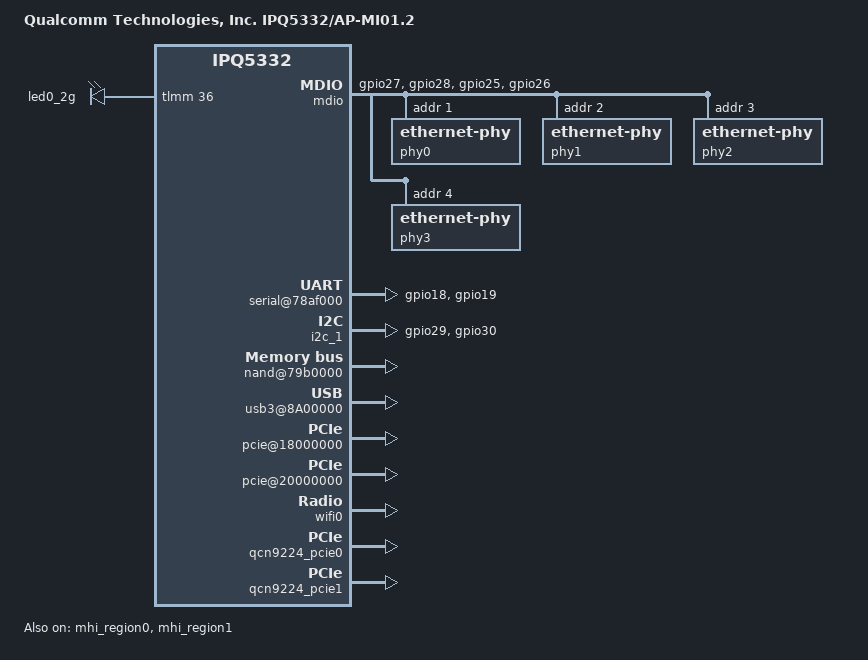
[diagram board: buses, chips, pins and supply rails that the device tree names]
// SPDX-License-Identifier: (GPL-2.0+ OR BSD-3-Clause)
/*
 * IPQ5332 AP-MI01.2 board device tree source
 *
 * Copyright (c) 2020-2021 The Linux Foundation. All rights reserved.
 * Copyright (c) 2022 Qualcomm Innovation Center, Inc. All rights reserved.
 */

/dts-v1/;

#include "ipq5332.dtsi"

#ifdef __IPQ_MEM_PROFILE_512_MB__
#include "ipq5332-512MB-memory.dtsi"
#else
#include "ipq5332-default-memory.dtsi"
#endif

/ {
	#address-cells = <0x2>;
	#size-cells = <0x2>;
	model = "Qualcomm Technologies, Inc. IPQ5332/AP-MI01.2";
	compatible = "qcom,ipq5332-ap-mi01.2", "qcom,ipq5332";
	interrupt-parent = <&intc>;

	aliases {
		serial0 = &blsp1_uart0;
	};

	chosen {
		linux,initrd-end = <0x57000000>;
		linux,initrd-start = <0x55000000>;
		bootargs = "root=/dev/ram0 rw init=/init";
		stdout-path = "serial0";
		bootargs-append = " clk_ignore_unused";
	};

	soc {
		pinctrl@1000000 {
			serial_0_pins: serial0-pinmux {
				pins = "gpio18", "gpio19";
				function = "blsp0_uart0";
				drive-strength = <8>;
				bias-pull-up;
			};

			i2c_1_pins: i2c-1-pinmux {
				pins = "gpio29", "gpio30";
				function = "blsp1_i2c0";
				drive-strength = <8>;
				bias-pull-up;
			};

			leds_pins: leds_pinmux {
				led0_2g {
					pins = "gpio36";
					function = "gpio";
					drive-strength = <8>;
					bias-pull-down;
				};
			};

			mdio0_pins: mdio_pinmux {
				mux_0 {
					pins = "gpio25";
					function = "mdc0";
					drive-strength = <8>;
					bias-disable;
				};
				mux_1 {
					pins = "gpio26";
					function = "mdio0";
					drive-strength = <8>;
					bias-pull-up;
				};
			};

			mdio1_pins: mdio_pinmux {
				mux_0 {
					pins = "gpio27";
					function = "mdc1";
					drive-strength = <8>;
					bias-disable;
				};
				mux_1 {
					pins = "gpio28";
					function = "mdio1";
					drive-strength = <8>;
					bias-pull-up;
				};
			};

			sfp_pins: sfp_pinmux {
				sfp_rx {
					pins = "gpio45";
					function = "rx1";
					bias-disable;
				};
				sfp_tx {
					pins = "gpio24";
					function = "gpio";
					drive-strength = <8>;
					bias-pull-down;
					output-low;
				};
			};
		};

		mdio:mdio@90000 {
			status = "ok";
			pinctrl-0 = <&mdio1_pins &mdio0_pins>;
			pinctrl-names = "default";
			/*gpio51 for manhattan reset*/
			phy-reset-gpio = <&tlmm 51 0>;
			phyaddr_fixup = <0xC90F018>;
			uniphyaddr_fixup = <0xC90F014>;
			mdio_clk_fixup; /* MDIO clock sequence fix up flag */

			phy0: ethernet-phy@0 {
				reg = <1>;
				fixup;
			};
			phy1: ethernet-phy@1 {
				reg = <2>;
				fixup;
			};
			phy2: ethernet-phy@2 {
				reg = <3>;
				fixup;
			};
			phy3: ethernet-phy@3 {
				reg = <4>;
				fixup;
			};
		};

		ess-instance {
			num_devices = <0x2>;
			ess-switch@3a000000 {
				pinctrl-0 = <&sfp_pins>;
				pinctrl-names = "default";
				switch_cpu_bmp = <0x1>;  /* cpu port bitmap */
				switch_lan_bmp = <0x2>; /* lan port bitmap */
				switch_wan_bmp = <0x4>; /* wan port bitmap */
				switch_mac_mode = <0xc>; /* mac mode for uniphy instance0*/
				switch_mac_mode1 = <0xe>; /* mac mode for uniphy instance1*/
				switch_mac_mode2 = <0xff>; /* mac mode for uniphy instance2*/
				qcom,port_phyinfo {
					port@0 {
						port_id = <1>;
						forced-speed = <2500>;
						forced-duplex = <1>;
					};
					port@1 {
						port_id = <2>;
						phy_address = <30>;
						media-type = "sfp"; /* fiber mode */
						sfp_rx_los_pin = <&tlmm 45 0>;
						sfp_tx_dis_pin = <&tlmm 24 0>;
					};
				};
			};

			ess-switch1@0xc000000 {
				compatible = "qcom,ess-switch-qca8386";
				device_id = <1>;
				switch_access_mode = "mdio";
				mdio-bus = <&mdio>;
				switch_mac_mode = <0xc>; /* mac mode for uniphy instance0 */
				switch_mac_mode1 = <0xff>; /* mac mode1 for uniphy instance1 */
				switch_cpu_bmp = <0x1>;  /* cpu port bitmap */
				switch_lan_bmp = <0x1e>; /* lan port bitmap */
				switch_wan_bmp = <0x0>;  /* wan port bitmap */
				//link-polling-required = <0>;
				//link-intr-gpio = <&tlmm 23 0>;
				qcom,port_phyinfo {
					port@0 {
						port_id = <0>;
						forced-speed = <2500>;
						forced-duplex = <1>;
					};
					port@1 {
						port_id = <1>;
						phy_address = <1>;
					};
					port@2 {
						port_id = <2>;
						phy_address = <2>;
					};
					port@3 {
						port_id = <3>;
						phy_address = <3>;
					};
					port@4 {
						port_id = <4>;
						phy_address = <4>;
					};
				};
			};
		};

		eud@78000 {
			status = "ok";
		};

		serial@78af000 {
			pinctrl-0 = <&serial_0_pins>;
			pinctrl-names = "default";
			status = "ok";
		};

		i2c_1: i2c@78b6000 {
			status = "ok";
			pinctrl-0 = <&i2c_1_pins>;
			pinctrl-names = "default";
		};

		dma@7984000 {
			status = "ok";
		};

		nand@79b0000 {
			pinctrl-0 = <&qspi_nand_pins>;
			pinctrl-names = "default";
			status = "ok";
		};

		usb3@8A00000 {
			status = "ok";
			qcom,select-utmi-as-pipe-clk;
			dwc3@8A00000 {
				/delete-property/ #phy-cells;
				/delete-property/ phys;
				/delete-property/ phy-names;
			};
		};

		hs_m31phy@7b000 {
			status = "ok";
		};

		leds {
			compatible = "gpio-leds";
			pinctrl-0 = <&leds_pins>;
			pinctrl-names = "default";
			led@36 {
				label = "led0_2g";
				gpios = <&tlmm 36 GPIO_ACTIVE_HIGH>;
				linux,default-trigger = "led_2g";
				default-state = "off";
			};
		};

		phy@4b0000 {
			status = "ok";
		};

		phy_x2@4b1000 {
			status = "ok";
		};

		pcie@18000000 {
			perst-gpio = <&tlmm 47 GPIO_ACTIVE_LOW>;
			status = "ok";
			pcie1_rp {
				reg = <0 0 0 0 0>;

				qcom,mhi@1 {
					reg = <0 0 0 0 0>;
					qrtr_node_id = <0x31>;
					memory-region = <0>, <&mhi_region0>;
				};
			};
		};

		pcie@20000000 {
			perst-gpio = <&tlmm 38 GPIO_ACTIVE_LOW>;
			status = "ok";
			pcie0_rp {
				reg = <0 0 0 0 0>;

				qcom,mhi@2 {
					reg = <0 0 0 0 0>;
					qrtr_node_id = <0x32>;
					memory-region = <0>, <&mhi_region1>;
				};
			};
		};
	};
};

&wifi0 {
	qcom,rproc = <&q6_wcss_pd1>;
	qcom,multipd_arch;
	qcom,userpd-subsys-name = "q6v5_wcss_userpd1";
	mem-region = <&q6_region>;
	status = "ok";
};

&qcn9224_pcie0 {
	status = "ok";
};

&qcn9224_pcie1 {
	status = "ok";
};

&mhi_region0 {
	status = "ok";
};

&mhi_region1 {
	status = "ok";
};
